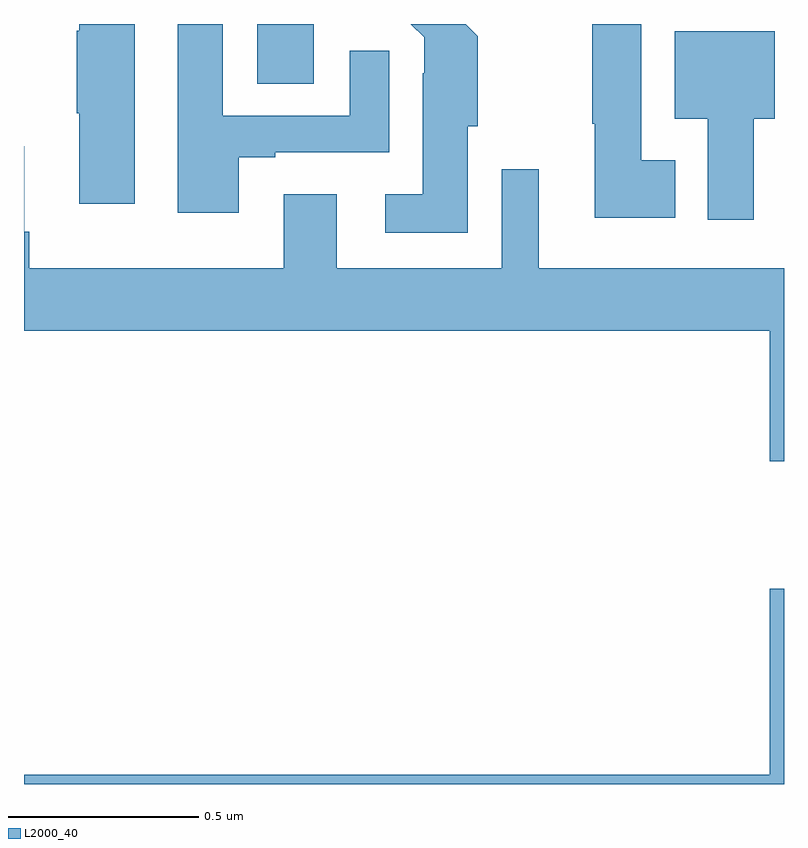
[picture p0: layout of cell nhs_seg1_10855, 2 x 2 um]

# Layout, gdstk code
import gdstk
lib = gdstk.Library(unit=1e-6, precision=1e-09)
def R(c, l, rs):  # rectangles x0, y0, x1, y1
    for r in rs: c.add(gdstk.rectangle(r[:2], r[2:], *l))
def P(c, l, *ps):  # polygons
    for p in ps: c.add(gdstk.Polygon(p, *l))
L2000_40 = (2000, 40)

nhs_seg1_10855 = lib.new_cell('nhs_seg1_10855')
R(nhs_seg1_10855, L2000_40, [(246.614,559.042,246.763,559.199)])
P(nhs_seg1_10855, L2000_40, [(247.714,558.841),(247.624,558.841),(247.624,559.199),(247.495,559.199),(247.495,558.937),(247.502,558.937),(247.502,558.689),(247.714,558.689)],
  [(247.168,558.93),(247.194,558.93),(247.194,559.167),(247.162,559.199),(247.018,559.199),(247.053,559.164),(247.053,559.07),(247.049,559.07),(247.049,558.751),(246.951,558.751),(246.951,558.65),(247.168,558.65)],
  [(246.565,558.849),(246.661,558.849),(246.661,558.861),(246.961,558.861),(246.961,559.129),(246.857,559.129),(246.857,558.957),(246.523,558.957),(246.523,559.199),(246.404,559.199),(246.404,558.702),(246.565,558.702)],
  [(246.292,559.199),(246.146,559.199),(246.146,559.181),(246.139,559.181),(246.139,558.964),(246.146,558.964),(246.146,558.726),(246.292,558.726)],
  [(247.921,558.95),(247.975,558.95),(247.975,559.18),(247.712,559.18),(247.712,558.95),(247.799,558.95),(247.799,558.684),(247.921,558.684)],
  [(248,558.556),(247.354,558.556),(247.354,558.817),(247.257,558.817),(247.257,558.556),(246.823,558.556),(246.823,558.751),(246.683,558.751),(246.683,558.556),(246.014,558.556),(246.014,558.652),(246.001,558.652),(246.001,558.877),(246,558.877),(246,558.392),(247.963,558.392),(247.963,558.048),(248,558.048)],
  [(246,557.199),(248,557.199),(248,557.713),(247.963,557.713),(247.963,557.224),(246,557.224)])

lib.write_gds('nhs_seg1_10855.gds')
